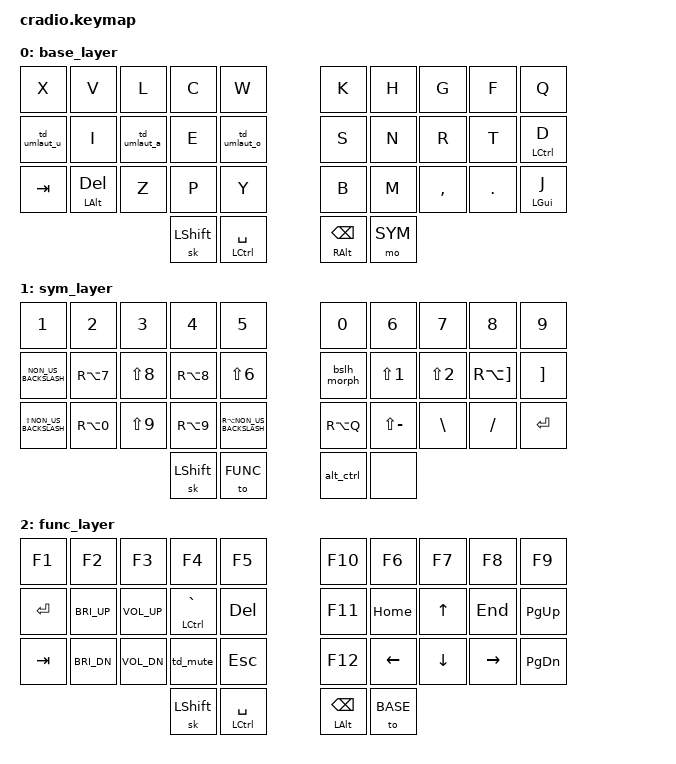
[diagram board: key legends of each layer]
#include <behaviors.dtsi>
#include <dt-bindings/zmk/keys.h>
#include <dt-bindings/zmk/bt.h>

#define BASE 0
#define SYM  1
#define FUNC 2

// Tastenpositionen je Hand (für positionsabhängige Mod-Taps)
#define KEYS_L 0 1 2 3 4 10 11 12 13 14 20 21 22 23 24
#define KEYS_R 5 6 7 8 9 15 16 17 18 19 25 26 27 28 29
#define THUMBS 30 31 32 33

/*
 * Deutsche Keycodes für deutsches Tastaturlayout am PC (QWERTZ)
 *
 * Diese Definitionen gelten wenn das OS auf Deutsch/QWERTZ eingestellt ist.
 */

// Y und Z vertauscht
#define DE_Y        Z
#define DE_Z        Y

// Umlaute (Positionen auf deutschem Layout)
#define DE_A_UMLAUT SQT          // Ä
#define DE_O_UMLAUT SEMI             // Ö
#define DE_U_UMLAUT LBKT             // Ü
#define DE_ESZETT   MINUS            // ß (ohne Shift!)

// Sonderzeichen
#define DE_LESS_THAN        NON_US_BACKSLASH     // <
#define DE_GREATER_THAN     LS(NON_US_BACKSLASH) // >
#define DE_PIPE             RA(NON_US_BACKSLASH) // |
#define DE_BACKSLASH        RA(MINUS)            // Backslash
#define DE_LEFT_BRACE       RA(N7)               // {
#define DE_RIGHT_BRACE      RA(N0)               // }
#define DE_LEFT_BRACKET     RA(N8)               // [
#define DE_RIGHT_BRACKET    RA(N9)               // ]
#define DE_LEFT_PARENTHESIS LS(N8)               // (
#define DE_RIGHT_PARENTHESIS LS(N9)              // )
#define DE_AMPERSAND        LS(N6)               // &
#define DE_EXCLAMATION      LS(N1)               // !
#define DE_DOUBLE_QUOTES    LS(N2)               // "
#define DE_TILDE            RA(RBKT)             // ~
#define DE_AT               RA(Q)                // @
#define DE_QUESTION         LS(MINUS)            // ?
#define DE_PLUS             RBKT                 // +
#define DE_MINUS            SLASH                // -

/*
 * Tastenpositionen:
 *
 *  0  1  2  3  4      5  6  7  8  9
 * 10 11 12 13 14     15 16 17 18 19
 * 20 21 22 23 24     25 26 27 28 29
 *          30 31     32 33
 *
 * Base Layer:
 *  X  V  L  C  W      K  H  G  F  Q
 *  Ü  I  Ä  E  Ö      S  N  R  T  D
 * TAB DEL Y  P  Z      B  M  ,  .  J
 *           SFT SPC   BSP SYM
 *
 * Combos (nur Base Layer):
 *  X + V  → ESC
 *  F + Q  → ENTER
 *
 * Combos (nur Func Layer):
 *  F1 + F2 + F3  → Bluetooth-Kopplung des aktuellen Profils löschen
 *  F6 + F7       → Bluetooth-Profil 1
 *  F7 + F8       → Bluetooth-Profil 2
 *  F8 + F9       → Bluetooth-Profil 3
 */
&mt {
        flavor = "tap-preferred";
        tapping-term-ms = <250>;
        quick-tap-ms = <125>;
};

/ {
    behaviors {
        // Tap-Dance für Umlaute: einfacher Tipp = Vokal, Doppeltipp = Umlaut
        td_umlaut_u: td_umlaut_u {
            compatible = "zmk,behavior-tap-dance";
            #binding-cells = <0>;
            tapping-term-ms = <175>;
            bindings = <&kp U>, <&kp DE_U_UMLAUT>;
        };
        td_umlaut_a: td_umlaut_a {
            compatible = "zmk,behavior-tap-dance";
            #binding-cells = <0>;
            tapping-term-ms = <175>;
            bindings = <&kp A>, <&kp DE_A_UMLAUT>;
        };
        td_umlaut_o: td_umlaut_o {
            compatible = "zmk,behavior-tap-dance";
            #binding-cells = <0>;
            tapping-term-ms = <175>;
            bindings = <&kp O>, <&kp DE_O_UMLAUT>;
        };
        td_mute: td_mute {
            compatible = "zmk,behavior-tap-dance";
            #binding-cells = <0>;
            tapping-term-ms = <250>;
            bindings = <&kp K_MUTE>, <&kp EQUAL>;
        };

        // Mod-Tap Space/Ctrl mit kürzerem Tapping-Term, damit Ctrl
        // schnell verfügbar ist. Direkt nach einer anderen Taste
        // (beim Tippen) wird Space sofort als Tap gewertet.
        mt_spc: mt_spc {
            compatible = "zmk,behavior-hold-tap";
            #binding-cells = <2>;
            flavor = "tap-preferred";
            tapping-term-ms = <150>;
            quick-tap-ms = <125>;
            require-prior-idle-ms = <125>;
            bindings = <&kp>, <&kp>;
        };

        // Home-Row-Mods: Mod nur, wenn die nächste Taste auf der anderen
        // Hand oder ein Daumen ist, und nicht mitten im Tippen.
        hm_l: hm_l {
            compatible = "zmk,behavior-hold-tap";
            #binding-cells = <2>;
            flavor = "tap-preferred";
            tapping-term-ms = <250>;
            quick-tap-ms = <125>;
            require-prior-idle-ms = <150>;
            // Tab (20) zusätzlich, damit Alt+Tab mit Del sofort funktioniert
            hold-trigger-key-positions = <KEYS_R THUMBS 20>;
            bindings = <&kp>, <&kp>;
        };
        hm_r: hm_r {
            compatible = "zmk,behavior-hold-tap";
            #binding-cells = <2>;
            flavor = "tap-preferred";
            tapping-term-ms = <250>;
            quick-tap-ms = <125>;
            require-prior-idle-ms = <150>;
            hold-trigger-key-positions = <KEYS_L THUMBS>;
            bindings = <&kp>, <&kp>;
        };

        // Backslash, mit Shift ß
        bslh_morph: bslh_morph {
            compatible = "zmk,behavior-mod-morph";
            #binding-cells = <0>;
            bindings = <&kp DE_BACKSLASH>, <&kp DE_ESZETT>;
            mods = <(MOD_LSFT|MOD_RSFT)>;
        };

        // Alt, mit Shift Ctrl
        alt_ctrl: alt_ctrl {
            compatible = "zmk,behavior-mod-morph";
            #binding-cells = <0>;
            bindings = <&kp LALT>, <&kp LCTRL>;
            mods = <(MOD_LSFT|MOD_RSFT)>;
        };
    };

    combos {
        compatible = "zmk,combos";
        combo_esc {
            timeout-ms = <40>;
            require-prior-idle-ms = <150>;
            key-positions = <0 1>;
            bindings = <&kp ESC>;
            layers = <BASE>;
        };
        combo_enter {
            timeout-ms = <40>;
            require-prior-idle-ms = <150>;
            key-positions = <8 9>;
            bindings = <&kp ENTER>;
            layers = <BASE>;
        };
        combo_bt_clr {
            key-positions = <0 1 2>;
            bindings = <&bt BT_CLR>;
            layers = <FUNC>;
        };
        combo_bt_profile_1 {
            key-positions = <6 7>;
            bindings = <&bt BT_SEL 0>;
            layers = <FUNC>;
        };
        combo_bt_profile_2 {
            key-positions = <7 8>;
            bindings = <&bt BT_SEL 1>;
            layers = <FUNC>;
        };
        combo_bt_profile_3 {
            key-positions = <8 9>;
            bindings = <&bt BT_SEL 2>;
            layers = <FUNC>;
        };
    };

    keymap {
        compatible = "zmk,keymap";

        base_layer {
            bindings = <
// ╭──────────────┬─────────────┬─────────────┬─────────────┬─────────────╮   ╭─────────────┬─────────────┬─────────────┬─────────────┬──────────────╮
    &kp X          &kp V         &kp L         &kp C         &kp W             &kp K         &kp H         &kp G         &kp F         &kp Q
// ├──────────────┼─────────────┼─────────────┼─────────────┼─────────────┤   ├─────────────┼─────────────┼─────────────┼─────────────┼──────────────┤
    &td_umlaut_u   &kp I         &td_umlaut_a  &kp E         &td_umlaut_o      &kp S         &kp N         &kp R         &kp T         &hm_r LCTRL D
// ├──────────────┼─────────────┼─────────────┼─────────────┼─────────────┤   ├─────────────┼─────────────┼─────────────┼─────────────┼──────────────┤
    &kp TAB        &hm_l LALT DEL  &kp DE_Y      &kp P         &kp DE_Z          &kp B         &kp M         &kp COMMA     &kp DOT       &mt LGUI J
// ╰──────────────┴─────────────┴─────────────┼─────────────┼─────────────┤   ├─────────────┼─────────────┼─────────────┴─────────────┴──────────────╯
                                               &sk LSHFT     &mt_spc LCTRL SPACE &mt RALT BSPC &mo SYM
//                                            ╰─────────────┴─────────────╯   ╰─────────────┴─────────────╯
            >;
        };

        sym_layer {
            bindings = <
// ╭──────────────┬──────────────┬─────────────────────┬────────────────────┬─────────────────╮   ╭─────────────────┬──────────────────┬─────────────────┬──────────────┬──────────────────╮
    &kp N1         &kp N2         &kp N3                &kp N4               &kp N5                &kp N0            &kp N6            &kp N7            &kp N8         &kp N9
// ├──────────────┼──────────────┼─────────────────────┼────────────────────┼─────────────────┤   ├─────────────────┼──────────────────┼─────────────────┼──────────────┼──────────────────┤
    &kp DE_LESS_THAN &kp DE_LEFT_BRACE &kp DE_LEFT_PARENTHESIS &kp DE_LEFT_BRACKET &kp DE_AMPERSAND  &bslh_morph     &kp DE_EXCLAMATION &kp DE_DOUBLE_QUOTES &kp DE_TILDE &kp DE_PLUS
// ├──────────────┼──────────────┼─────────────────────┼────────────────────┼─────────────────┤   ├─────────────────┼──────────────────┼─────────────────┼──────────────┼──────────────────┤
    &kp DE_GREATER_THAN &kp DE_RIGHT_BRACE &kp DE_RIGHT_PARENTHESIS &kp DE_RIGHT_BRACKET &kp DE_PIPE  &kp DE_AT      &kp DE_QUESTION   &kp BSLH  &kp DE_MINUS  &kp ENTER
// ╰──────────────┴──────────────┴─────────────────────┼────────────────────┼─────────────────┤   ├─────────────────┼──────────────────┼─────────────────┴──────────────┴──────────────────╯
                                                        &sk LSHFT            &to FUNC                 &alt_ctrl             &none
//                                                     ╰────────────────────┴─────────────────╯   ╰─────────────────┴──────────────────╯
            >;
        };

        func_layer {
            bindings = <
// ╭──────────────┬─────────────┬─────────────┬────────────────────┬─────────────╮   ╭─────────────┬─────────────┬─────────────┬─────────────┬──────────────╮
    &kp F1         &kp F2        &kp F3        &kp F4               &kp F5            &kp F10       &kp F6        &kp F7        &kp F8        &kp F9
// ├──────────────┼─────────────┼─────────────┼────────────────────┼─────────────┤   ├─────────────┼─────────────┼─────────────┼─────────────┼──────────────┤
    &kp ENTER      &kp C_BRI_UP  &kp C_VOL_UP  &mt LCTRL GRAVE     &kp DEL           &kp F11       &kp HOME      &kp UP        &kp END       &kp PG_UP
// ├──────────────┼─────────────┼─────────────┼────────────────────┼─────────────┤   ├─────────────┼─────────────┼─────────────┼─────────────┼──────────────┤
    &kp TAB        &kp C_BRI_DN  &kp C_VOL_DN  &td_mute             &kp ESC           &kp F12       &kp LEFT      &kp DOWN      &kp RIGHT     &kp PG_DN
// ╰──────────────┴─────────────┴─────────────┼────────────────────┼─────────────┤   ├─────────────┼─────────────┼─────────────┴─────────────┴──────────────╯
                                               &sk LSHFT            &mt LCTRL SPACE   &mt LALT BSPC &to BASE
//                                            ╰────────────────────┴─────────────╯   ╰─────────────┴─────────────╯
            >;
        };
    };
};
